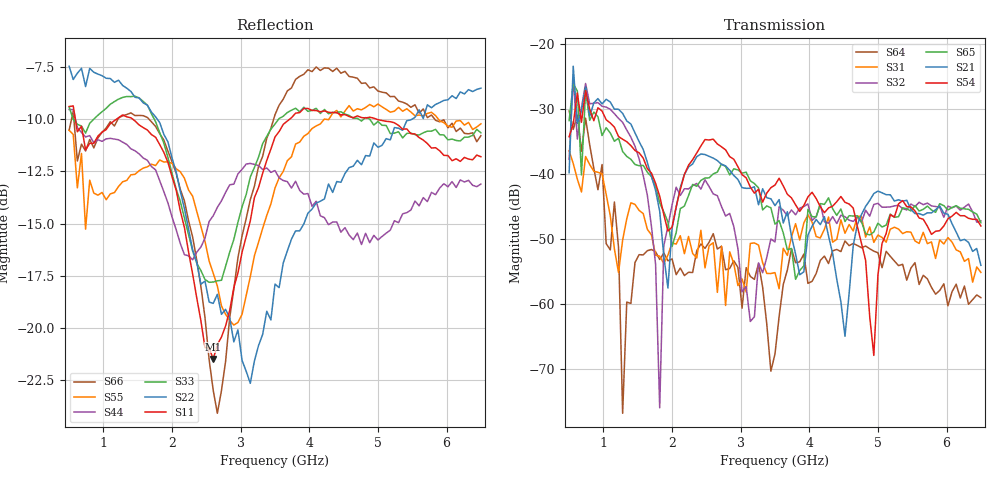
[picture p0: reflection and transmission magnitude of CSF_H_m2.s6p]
!Keysight Technologies,M9804A,MY58100912,A.14.10.03
!Date: Thursday, April 27, 2023 10:28:33
!Correction: S11(C  6-Port  )
!S12(C  6-Port  )
!S13(C  6-Port  )
!S14(C  6-Port  )
!S15(C  6-Port  )
!S16(C  6-Port  )
!S21(C  6-Port  )
!S22(C  6-Port  )
!S23(C  6-Port  )
!S24(C  6-Port  )
!S25(C  6-Port  )
!S26(C  6-Port  )
!S31(C  6-Port  )
!S32(C  6-Port  )
!S33(C  6-Port  )
!S34(C  6-Port  )
!S35(C  6-Port  )
!S36(C  6-Port  )
!S41(C  6-Port  )
!S42(C  6-Port  )
!S43(C  6-Port  )
!S44(C  6-Port  )
!S45(C  6-Port  )
!S46(C  6-Port  )
!S51(C  6-Port  )
!S52(C  6-Port  )
!S53(C  6-Port  )
!S54(C  6-Port  )
!S55(C  6-Port  )
!S56(C  6-Port  )
!S61(C  6-Port  )
!S62(C  6-Port  )
!S63(C  6-Port  )
!S64(C  6-Port  )
!S65(C  6-Port  )
!S66(C  6-Port  )
!S6P File: Measurement: :
# Hz S  RI  R 50
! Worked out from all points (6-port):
!   101 points, 500 MHz to 6.5 GHz, reference 50 ohm
!   strongest paths, dB at 500 MHz, 2 GHz, 3.5 GHz, 5 GHz, 6.5 GHz:
!     S54: -34.3, -48.2, -41.7, -55.5, -48.0
!     S21: -39.8, -48.3, -44.9, -42.6, -54.0
!     S65: -31.8, -51.2, -47.7, -47.6, -47.5
!     S32: -37.7, -44.8, -50.5, -44.5, -47.2
!     S31: -36.4, -50.6, -55.2, -49.4, -55.1
!     S64: -30.3, -53.1, -67.7, -52.1, -59.0
!   lowest |S11| = -21.5 dB at 2.6 GHz (marker M1), VSWR 1.18, Z = 42.5 + j2.18 ohm
!   |S11| at or under -10 dB: 590.7 MHz to 1.191 GHz (600.6 MHz wide, 67.4 % of centre); 1.426 GHz to 3.715 GHz (2.288 GHz wide, 89 % of centre); 4.978 GHz to end of sweep
